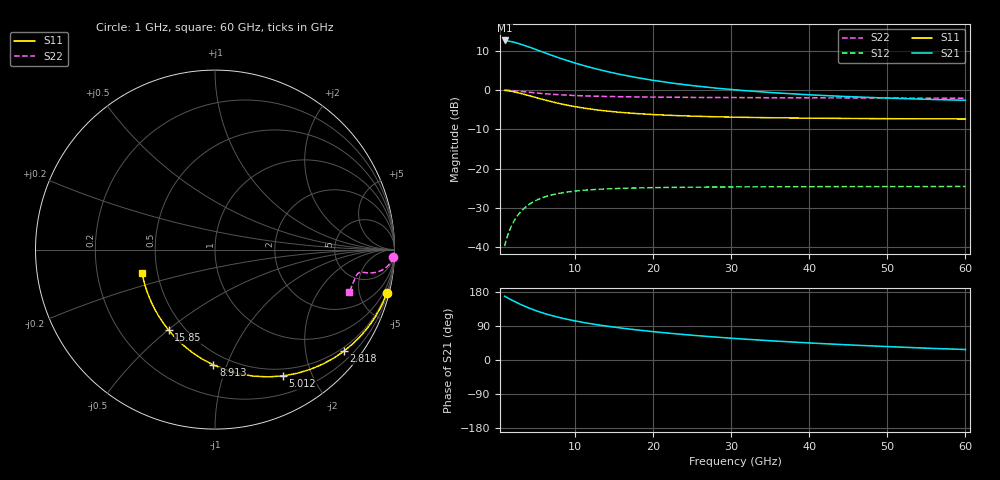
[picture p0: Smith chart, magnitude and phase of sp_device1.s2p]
! Touchstone Ver. 1.0
! Number of ports is 2
# Hz	S	RI	R	50.000000
! SCATTERING PARAMETERS  :
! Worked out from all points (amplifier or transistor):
!   37 points, 1 GHz to 60 GHz, reference 50 ohm
!   highest |S21| = 12.6 dB at 1 GHz (marker M1)
!   |S21| within 3 dB of that: start of sweep to 5.964 GHz
!   unconditionally stable (mu >= 1): 9.075 GHz to end of sweep
!   at 1.995 GHz: K = 0.23, MSG = 23.1 dB, |S12| = -34.1 dB
!   at 7.943 GHz: K = 0.88, MSG = 17.2 dB, |S12| = -26.3 dB
!   at 60 GHz: K = 3.92, MAG = 2.1 dB, |S12| = -24.5 dB
!   S11 on the Smith chart (normalised r, x): 1 GHz: 0.41, -8.00; 2.818 GHz: 0.41, -2.84; 5.012 GHz: 0.41, -1.60; 8.913 GHz: 0.41, -0.90; 15.85 GHz: 0.41, -0.50; 60 GHz: 0.41, -0.13
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1e9  0.9573 -0.2424  -4.161 0.8587  0.00179 0.0102  0.9936 -0.0399
1.412538e9  0.9172 -0.3325  -4.019 1.178  0.00348 0.014  0.9876 -0.0549
1.995262e9  0.8439 -0.4439  -3.758 1.572  0.00655 0.0186  0.9767 -0.0737
2.818383e9  0.7193 -0.5651  -3.316 2  0.0118 0.0237  0.9581 -0.0949
3.548134e9  0.6013 -0.6376  -2.897 2.256  0.0167 0.0268  0.9404 -0.1084
3.981072e9  0.5321 -0.6668  -2.651 2.359  0.0196 0.028  0.93 -0.1144
5.011872e9  0.3784 -0.7037  -2.105 2.488  0.0261 0.0295  0.907 -0.1238
6.309573e9  0.2158 -0.7052  -1.528 2.49  0.0329 0.0296  0.8826 -0.1289
7.079458e9  0.1364 -0.6921  -1.246 2.442  0.0363 0.029  0.8706 -0.1299
7.943282e9  0.0609 -0.6708  -0.9782 2.364  0.0394 0.0282  0.8592 -0.1299
8.912509e9  -0.00926 -0.6425  -0.7293 2.262  0.0424 0.027  0.8485 -0.1294
1e10  -0.0729 -0.6087  -0.5035 2.139  0.045 0.0255  0.8388 -0.1284
1.122018e10  -0.1295 -0.5711  -0.3028 2.003  0.0474 0.024  0.83 -0.1274
1.258925e10  -0.1788 -0.5313  -0.1277 1.859  0.0495 0.0223  0.8223 -0.1266
1.412538e10  -0.2212 -0.4905  0.0225 1.71  0.0513 0.0206  0.8154 -0.1263
1.584893e10  -0.2572 -0.4501  0.1497 1.563  0.0528 0.0189  0.8094 -0.1267
1.778279e10  -0.2872 -0.4107  0.256 1.419  0.054 0.0172  0.8041 -0.1281
2.238721e10  -0.3327 -0.3378  0.416 1.15  0.0559 0.0141  0.795 -0.1343
3.162278e10  -0.374 -0.2465  0.5592 0.8057  0.0577 0.0103  0.7826 -0.1547
4.466836e10  -0.3958 -0.1773  0.6291 0.5321  0.0586 0.00738  0.7672 -0.1912
5.623413e10  -0.4042 -0.1423  0.6511 0.3794  0.0589 0.00566  0.7509 -0.2306
6e10  -0.4057 -0.133  0.6531 0.3434  0.059 0.0055  0.7466 -0.2373
